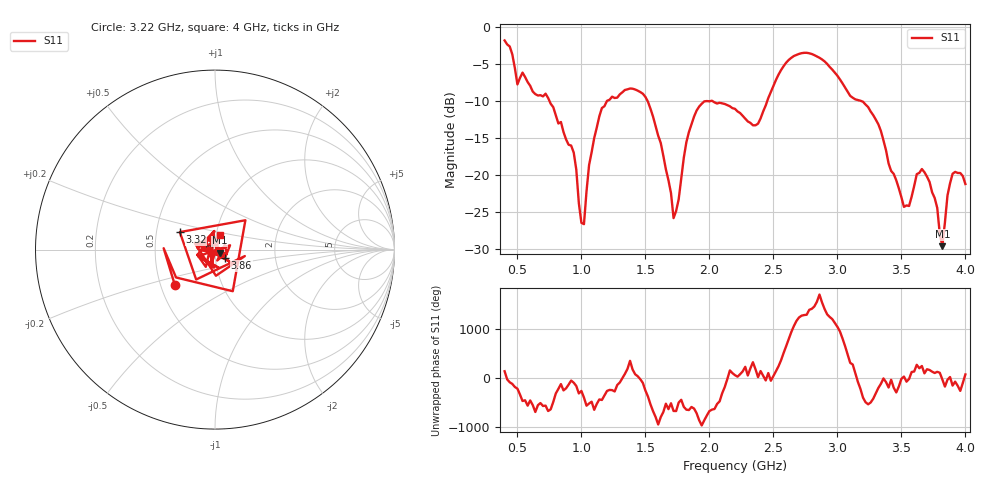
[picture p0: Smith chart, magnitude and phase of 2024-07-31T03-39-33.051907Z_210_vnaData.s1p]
!Created with skrf (http://scikit-rf.org).
# Hz S RI R 50.0
!freq ReS11 ImS11
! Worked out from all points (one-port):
!   181 points, 400 MHz to 4 GHz, reference 50 ohm
!   lowest |S11| = -29.7 dB at 3.82 GHz (marker M1), VSWR 1.07, Z = 52.8 - j1.9 ohm
!   |S11| at or under -10 dB: 749.2 MHz to 1.204 GHz (454.6 MHz wide, 46.6 % of centre); 1.515 GHz to 2.453 GHz (937.7 MHz wide, 47.3 % of centre); 3.177 GHz to end of sweep
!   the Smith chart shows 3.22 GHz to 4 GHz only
!   S11 on the Smith chart (normalised r, x): 3.22 GHz: 0.59, -0.25; 3.32 GHz: 0.66, +0.14; 3.86 GHz: 1.11, -0.10; 4 GHz: 1.05, +0.17
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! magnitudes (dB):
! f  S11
! 400 MHz  -1.9
! 500 MHz  -7.8
! 720 MHz  -9.1
! 860 MHz  -14.2
! 940 MHz  -17.0
! 1.02 GHz  -26.7
! 1.06 GHz  -18.7
! 1.14 GHz  -12.1
! 1.3 GHz  -9.2
! 1.5 GHz  -9.5
! 1.62 GHz  -15.7
! 1.72 GHz  -25.9
! 1.76 GHz  -23.3
! 1.82 GHz  -15.6
! 1.9 GHz  -11.3
! 2.2 GHz  -11.1
! 2.38 GHz  -13.1
! 2.66 GHz  -4.0
! 3.1 GHz  -9.4
! 3.22 GHz  -10.5
! 3.32 GHz  -13.2
! 3.56 GHz  -24.2
! 3.66 GHz  -19.2
! 3.76 GHz  -23.2
! 3.82 GHz  -29.7
! 3.86 GHz  -22.8
! 3.92 GHz  -19.6
! 4 GHz  -21.3
